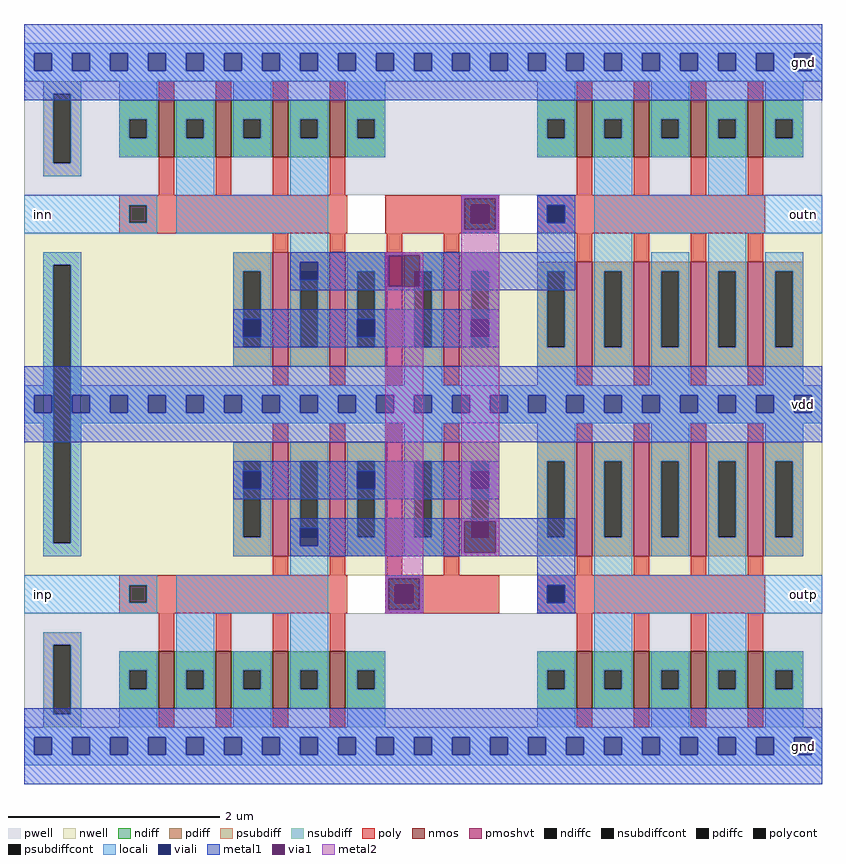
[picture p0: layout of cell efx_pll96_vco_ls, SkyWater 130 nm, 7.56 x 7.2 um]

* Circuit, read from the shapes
.subckt efx_pll96_vco_ls vdd inp outp outn inn gnd
XM1 n1 inp gnd gnd sky130_fd_pr__nfet_01v8 w=0.54 l=0.15 m=4
XM2 n2 inn gnd gnd sky130_fd_pr__nfet_01v8 w=0.54 l=0.15 m=4
XM3 outp n1 gnd gnd sky130_fd_pr__nfet_01v8 w=0.54 l=0.15 m=4
XM4 outn n2 gnd gnd sky130_fd_pr__nfet_01v8 w=0.54 l=0.15 m=4
XM5 n1 inp n3 vdd sky130_fd_pr__pfet_01v8_hvt w=1.08 l=0.15 m=2
XM6 n2 inn n4 vdd sky130_fd_pr__pfet_01v8_hvt w=1.08 l=0.15 m=2
XM7 vdd n2 n3 vdd sky130_fd_pr__pfet_01v8_hvt w=1.08 l=0.15 m=2
XM8 vdd n1 n4 vdd sky130_fd_pr__pfet_01v8_hvt w=1.08 l=0.15 m=2
XM9 outp n1 vdd vdd sky130_fd_pr__pfet_01v8_hvt w=1.08 l=0.15 m=4
XM10 outn n2 vdd vdd sky130_fd_pr__pfet_01v8_hvt w=0.99 l=0.15 m=4
.ends

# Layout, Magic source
magic
tech sky130A
magscale 1 2
<< nwell >>
rect 0 288 1512 936
<< pwell >>
rect 0 1008 1512 1224
rect 0 0 1512 216
<< nmos >>
rect 255 1080 285 1188
rect 363 1080 393 1188
rect 471 1080 501 1188
rect 579 1080 609 1188
rect 1047 1080 1077 1188
rect 1155 1080 1185 1188
rect 1263 1080 1293 1188
rect 1371 1080 1401 1188
rect 255 36 285 144
rect 363 36 393 144
rect 471 36 501 144
rect 579 36 609 144
rect 1047 36 1077 144
rect 1155 36 1185 144
rect 1263 36 1293 144
rect 1371 36 1401 144
<< pmoshvt >>
rect 471 684 501 900
rect 579 684 609 900
rect 687 684 717 900
rect 795 684 825 900
rect 1047 684 1077 882
rect 1155 684 1185 882
rect 1263 684 1293 882
rect 1371 684 1401 882
rect 471 324 501 540
rect 579 324 609 540
rect 687 324 717 540
rect 795 324 825 540
rect 1047 324 1077 540
rect 1155 324 1185 540
rect 1263 324 1293 540
rect 1371 324 1401 540
<< ndiff >>
rect 180 1152 255 1188
rect 180 1116 199 1152
rect 233 1116 255 1152
rect 180 1080 255 1116
rect 285 1152 363 1188
rect 285 1116 307 1152
rect 341 1116 363 1152
rect 285 1080 363 1116
rect 393 1152 471 1188
rect 393 1116 415 1152
rect 449 1116 471 1152
rect 393 1080 471 1116
rect 501 1152 579 1188
rect 501 1116 523 1152
rect 557 1116 579 1152
rect 501 1080 579 1116
rect 609 1152 684 1188
rect 609 1116 631 1152
rect 665 1116 684 1152
rect 609 1080 684 1116
rect 972 1152 1047 1188
rect 972 1116 991 1152
rect 1025 1116 1047 1152
rect 972 1080 1047 1116
rect 1077 1152 1155 1188
rect 1077 1116 1099 1152
rect 1133 1116 1155 1152
rect 1077 1080 1155 1116
rect 1185 1152 1263 1188
rect 1185 1116 1207 1152
rect 1241 1116 1263 1152
rect 1185 1080 1263 1116
rect 1293 1152 1371 1188
rect 1293 1116 1315 1152
rect 1349 1116 1371 1152
rect 1293 1080 1371 1116
rect 1401 1152 1476 1188
rect 1401 1116 1423 1152
rect 1457 1116 1476 1152
rect 1401 1080 1476 1116
rect 180 108 255 144
rect 180 72 199 108
rect 233 72 255 108
rect 180 36 255 72
rect 285 108 363 144
rect 285 72 307 108
rect 341 72 363 108
rect 285 36 363 72
rect 393 108 471 144
rect 393 72 415 108
rect 449 72 471 108
rect 393 36 471 72
rect 501 108 579 144
rect 501 72 523 108
rect 557 72 579 108
rect 501 36 579 72
rect 609 108 684 144
rect 609 72 631 108
rect 665 72 684 108
rect 609 36 684 72
rect 972 108 1047 144
rect 972 72 991 108
rect 1025 72 1047 108
rect 972 36 1047 72
rect 1077 108 1155 144
rect 1077 72 1099 108
rect 1133 72 1155 108
rect 1077 36 1155 72
rect 1185 108 1263 144
rect 1185 72 1207 108
rect 1241 72 1263 108
rect 1185 36 1263 72
rect 1293 108 1371 144
rect 1293 72 1315 108
rect 1349 72 1371 108
rect 1293 36 1371 72
rect 1401 108 1476 144
rect 1401 72 1423 108
rect 1457 72 1476 108
rect 1401 36 1476 72
<< pdiff >>
rect 396 864 471 900
rect 396 720 415 864
rect 449 720 471 864
rect 396 684 471 720
rect 501 864 579 900
rect 501 720 523 864
rect 557 720 579 864
rect 501 684 579 720
rect 609 864 687 900
rect 609 720 631 864
rect 665 720 687 864
rect 609 684 687 720
rect 717 864 795 900
rect 717 720 739 864
rect 773 720 795 864
rect 717 684 795 720
rect 825 864 900 900
rect 825 720 847 864
rect 881 720 900 864
rect 825 684 900 720
rect 972 864 1047 882
rect 972 720 991 864
rect 1025 720 1047 864
rect 972 684 1047 720
rect 1077 864 1155 882
rect 1077 720 1099 864
rect 1133 720 1155 864
rect 1077 684 1155 720
rect 1185 864 1263 882
rect 1185 720 1207 864
rect 1241 720 1263 864
rect 1185 684 1263 720
rect 1293 864 1371 882
rect 1293 720 1315 864
rect 1349 720 1371 864
rect 1293 684 1371 720
rect 1401 864 1476 882
rect 1401 720 1423 864
rect 1457 720 1476 864
rect 1401 684 1476 720
rect 396 504 471 540
rect 396 360 415 504
rect 449 360 471 504
rect 396 324 471 360
rect 501 504 579 540
rect 501 360 523 504
rect 557 360 579 504
rect 501 324 579 360
rect 609 504 687 540
rect 609 360 631 504
rect 665 360 687 504
rect 609 324 687 360
rect 717 504 795 540
rect 717 360 739 504
rect 773 360 795 504
rect 717 324 795 360
rect 825 504 900 540
rect 825 360 847 504
rect 881 360 900 504
rect 825 324 900 360
rect 972 504 1047 540
rect 972 360 991 504
rect 1025 360 1047 504
rect 972 324 1047 360
rect 1077 504 1155 540
rect 1077 360 1099 504
rect 1133 360 1155 504
rect 1077 324 1155 360
rect 1185 504 1263 540
rect 1185 360 1207 504
rect 1241 360 1263 504
rect 1185 324 1263 360
rect 1293 504 1371 540
rect 1293 360 1315 504
rect 1349 360 1371 504
rect 1293 324 1371 360
rect 1401 504 1476 540
rect 1401 360 1423 504
rect 1457 360 1476 504
rect 1401 324 1476 360
<< ndiffc >>
rect 199 1116 233 1152
rect 307 1116 341 1152
rect 415 1116 449 1152
rect 523 1116 557 1152
rect 631 1116 665 1152
rect 991 1116 1025 1152
rect 1099 1116 1133 1152
rect 1207 1116 1241 1152
rect 1315 1116 1349 1152
rect 1423 1116 1457 1152
rect 199 72 233 108
rect 307 72 341 108
rect 415 72 449 108
rect 523 72 557 108
rect 631 72 665 108
rect 991 72 1025 108
rect 1099 72 1133 108
rect 1207 72 1241 108
rect 1315 72 1349 108
rect 1423 72 1457 108
<< pdiffc >>
rect 415 720 449 864
rect 523 720 557 864
rect 631 720 665 864
rect 739 720 773 864
rect 847 720 881 864
rect 991 720 1025 864
rect 1099 720 1133 864
rect 1207 720 1241 864
rect 1315 720 1349 864
rect 1423 720 1457 864
rect 415 360 449 504
rect 523 360 557 504
rect 631 360 665 504
rect 739 360 773 504
rect 847 360 881 504
rect 991 360 1025 504
rect 1099 360 1133 504
rect 1207 360 1241 504
rect 1315 360 1349 504
rect 1423 360 1457 504
<< psubdiff >>
rect 36 1200 108 1224
rect 36 1068 55 1200
rect 89 1068 108 1200
rect 36 1044 108 1068
rect 36 156 108 180
rect 36 24 55 156
rect 89 24 108 156
rect 36 0 108 24
<< nsubdiff >>
rect 36 876 108 900
rect 36 348 55 876
rect 89 348 108 876
rect 36 324 108 348
<< psubdiffcont >>
rect 55 1068 89 1200
rect 55 24 89 156
<< nsubdiffcont >>
rect 55 348 89 876
<< poly >>
rect 255 1188 285 1224
rect 363 1188 393 1224
rect 471 1188 501 1224
rect 579 1188 609 1224
rect 1047 1188 1077 1224
rect 1155 1188 1185 1224
rect 1263 1188 1293 1224
rect 1371 1188 1401 1224
rect 255 1008 285 1080
rect 363 1008 393 1080
rect 471 1008 501 1080
rect 579 1008 609 1080
rect 1047 1008 1077 1080
rect 1155 1008 1185 1080
rect 1263 1008 1293 1080
rect 1371 1008 1401 1080
rect 180 989 612 1008
rect 180 955 199 989
rect 233 955 612 989
rect 180 936 612 955
rect 684 989 900 1008
rect 684 955 847 989
rect 881 955 900 989
rect 684 936 900 955
rect 972 989 1404 1008
rect 972 955 991 989
rect 1025 955 1404 989
rect 972 936 1404 955
rect 471 900 501 936
rect 579 900 609 936
rect 687 900 717 936
rect 795 900 825 936
rect 1047 882 1077 936
rect 1155 882 1185 936
rect 1263 882 1293 936
rect 1371 882 1401 936
rect 471 648 501 684
rect 579 648 609 684
rect 687 648 717 684
rect 795 648 825 684
rect 1047 648 1077 684
rect 1155 648 1185 684
rect 1263 648 1293 684
rect 1371 648 1401 684
rect 471 540 501 576
rect 579 540 609 576
rect 687 540 717 576
rect 795 540 825 576
rect 1047 540 1077 576
rect 1155 540 1185 576
rect 1263 540 1293 576
rect 1371 540 1401 576
rect 471 288 501 324
rect 579 288 609 324
rect 687 288 717 324
rect 795 288 825 324
rect 1047 288 1077 324
rect 1155 288 1185 324
rect 1263 288 1293 324
rect 1371 288 1401 324
rect 180 269 612 288
rect 180 235 199 269
rect 233 235 612 269
rect 180 216 612 235
rect 684 269 900 288
rect 684 235 703 269
rect 737 235 900 269
rect 684 216 900 235
rect 972 269 1404 288
rect 972 235 991 269
rect 1025 235 1404 269
rect 972 216 1404 235
rect 255 144 285 216
rect 363 144 393 216
rect 471 144 501 216
rect 579 144 609 216
rect 1047 144 1077 216
rect 1155 144 1185 216
rect 1263 144 1293 216
rect 1371 144 1401 216
rect 255 0 285 36
rect 363 0 393 36
rect 471 0 501 36
rect 579 0 609 36
rect 1047 0 1077 36
rect 1155 0 1185 36
rect 1263 0 1293 36
rect 1371 0 1401 36
<< polycont >>
rect 199 955 233 989
rect 847 955 881 989
rect 991 955 1025 989
rect 199 235 233 269
rect 703 235 737 269
rect 991 235 1025 269
<< locali >>
rect 0 1277 1512 1296
rect 0 1243 19 1277
rect 53 1243 91 1277
rect 125 1243 163 1277
rect 197 1243 235 1277
rect 269 1243 307 1277
rect 341 1243 379 1277
rect 413 1243 451 1277
rect 485 1243 523 1277
rect 557 1243 595 1277
rect 629 1243 667 1277
rect 701 1243 739 1277
rect 773 1243 811 1277
rect 845 1243 883 1277
rect 917 1243 955 1277
rect 989 1243 1027 1277
rect 1061 1243 1099 1277
rect 1133 1243 1171 1277
rect 1205 1243 1243 1277
rect 1277 1243 1315 1277
rect 1349 1243 1387 1277
rect 1421 1243 1459 1277
rect 1493 1243 1512 1277
rect 0 1224 1512 1243
rect 36 1200 108 1224
rect 36 1068 55 1200
rect 89 1068 108 1200
rect 180 1152 252 1224
rect 180 1116 199 1152
rect 233 1116 252 1152
rect 180 1080 252 1116
rect 288 1152 360 1188
rect 288 1116 307 1152
rect 341 1116 360 1152
rect 36 1044 108 1068
rect 288 1008 360 1116
rect 396 1152 468 1224
rect 396 1116 415 1152
rect 449 1116 468 1152
rect 396 1080 468 1116
rect 504 1152 576 1188
rect 504 1116 523 1152
rect 557 1116 576 1152
rect 504 1008 576 1116
rect 612 1152 684 1224
rect 612 1116 631 1152
rect 665 1116 684 1152
rect 612 1080 684 1116
rect 972 1152 1044 1224
rect 972 1116 991 1152
rect 1025 1116 1044 1152
rect 972 1080 1044 1116
rect 1080 1152 1152 1188
rect 1080 1116 1099 1152
rect 1133 1116 1152 1152
rect 1080 1008 1152 1116
rect 1188 1152 1260 1224
rect 1188 1116 1207 1152
rect 1241 1116 1260 1152
rect 1188 1080 1260 1116
rect 1296 1152 1368 1188
rect 1296 1116 1315 1152
rect 1349 1116 1368 1152
rect 1296 1008 1368 1116
rect 1404 1152 1476 1224
rect 1404 1116 1423 1152
rect 1457 1116 1476 1152
rect 1404 1080 1476 1116
rect 0 989 252 1008
rect 0 955 199 989
rect 233 955 252 989
rect 0 936 252 955
rect 288 936 576 1008
rect 828 989 900 1008
rect 828 955 847 989
rect 881 955 900 989
rect 828 936 900 955
rect 972 989 1044 1008
rect 972 955 991 989
rect 1025 955 1044 989
rect 972 936 1044 955
rect 1080 936 1512 1008
rect 36 876 108 900
rect 36 648 55 876
rect 0 629 55 648
rect 0 595 19 629
rect 53 595 55 629
rect 0 576 55 595
rect 36 348 55 576
rect 89 648 108 876
rect 396 864 468 900
rect 396 720 415 864
rect 449 720 468 864
rect 396 684 468 720
rect 504 881 576 936
rect 504 720 523 881
rect 557 720 576 881
rect 504 684 576 720
rect 612 864 684 900
rect 612 720 631 864
rect 665 720 684 864
rect 612 684 684 720
rect 720 864 792 900
rect 720 720 739 864
rect 773 720 792 864
rect 720 648 792 720
rect 828 864 900 900
rect 828 720 847 864
rect 881 720 900 864
rect 828 684 900 720
rect 972 864 1044 900
rect 972 720 991 864
rect 1025 720 1044 864
rect 972 648 1044 720
rect 1080 864 1152 936
rect 1080 720 1099 864
rect 1133 720 1152 864
rect 1080 684 1152 720
rect 1188 864 1260 900
rect 1188 720 1207 864
rect 1241 720 1260 864
rect 1188 648 1260 720
rect 1296 864 1368 936
rect 1296 720 1315 864
rect 1349 720 1368 864
rect 1296 684 1368 720
rect 1404 864 1476 900
rect 1404 720 1423 864
rect 1457 720 1476 864
rect 1404 648 1476 720
rect 89 629 1512 648
rect 89 595 91 629
rect 125 595 163 629
rect 197 595 235 629
rect 269 595 307 629
rect 341 595 379 629
rect 413 595 451 629
rect 485 595 523 629
rect 557 595 595 629
rect 629 595 667 629
rect 701 595 739 629
rect 773 595 811 629
rect 845 595 883 629
rect 917 595 955 629
rect 989 595 1027 629
rect 1061 595 1099 629
rect 1133 595 1171 629
rect 1205 595 1243 629
rect 1277 595 1315 629
rect 1349 595 1387 629
rect 1421 595 1459 629
rect 1493 595 1512 629
rect 89 576 1512 595
rect 89 348 108 576
rect 36 324 108 348
rect 396 504 468 540
rect 396 360 415 504
rect 449 360 468 504
rect 396 324 468 360
rect 504 504 576 540
rect 504 343 523 504
rect 557 343 576 504
rect 504 288 576 343
rect 612 504 684 540
rect 612 360 631 504
rect 665 360 684 504
rect 612 324 684 360
rect 720 504 792 576
rect 720 360 739 504
rect 773 360 792 504
rect 720 324 792 360
rect 828 504 900 540
rect 828 360 847 504
rect 881 360 900 504
rect 828 324 900 360
rect 972 504 1044 576
rect 972 360 991 504
rect 1025 360 1044 504
rect 972 324 1044 360
rect 1080 504 1152 540
rect 1080 360 1099 504
rect 1133 360 1152 504
rect 1080 288 1152 360
rect 1188 504 1260 576
rect 1188 360 1207 504
rect 1241 360 1260 504
rect 1188 324 1260 360
rect 1296 504 1368 540
rect 1296 360 1315 504
rect 1349 360 1368 504
rect 1296 288 1368 360
rect 1404 504 1476 576
rect 1404 360 1423 504
rect 1457 360 1476 504
rect 1404 324 1476 360
rect 0 269 252 288
rect 0 235 199 269
rect 233 235 252 269
rect 0 216 252 235
rect 288 216 576 288
rect 684 269 756 288
rect 684 235 703 269
rect 737 235 756 269
rect 684 216 756 235
rect 972 269 1044 288
rect 972 235 991 269
rect 1025 235 1044 269
rect 972 216 1044 235
rect 1080 216 1512 288
rect 36 156 108 180
rect 36 24 55 156
rect 89 24 108 156
rect 36 0 108 24
rect 180 108 252 144
rect 180 72 199 108
rect 233 72 252 108
rect 180 0 252 72
rect 288 108 360 216
rect 288 72 307 108
rect 341 72 360 108
rect 288 36 360 72
rect 396 108 468 144
rect 396 72 415 108
rect 449 72 468 108
rect 396 0 468 72
rect 504 108 576 216
rect 504 72 523 108
rect 557 72 576 108
rect 504 36 576 72
rect 612 108 684 144
rect 612 72 631 108
rect 665 72 684 108
rect 612 0 684 72
rect 972 108 1044 144
rect 972 72 991 108
rect 1025 72 1044 108
rect 972 0 1044 72
rect 1080 108 1152 216
rect 1080 72 1099 108
rect 1133 72 1152 108
rect 1080 36 1152 72
rect 1188 108 1260 144
rect 1188 72 1207 108
rect 1241 72 1260 108
rect 1188 0 1260 72
rect 1296 108 1368 216
rect 1296 72 1315 108
rect 1349 72 1368 108
rect 1296 36 1368 72
rect 1404 108 1476 144
rect 1404 72 1423 108
rect 1457 72 1476 108
rect 1404 0 1476 72
rect 0 -19 1512 0
rect 0 -53 19 -19
rect 53 -53 91 -19
rect 125 -53 163 -19
rect 197 -53 235 -19
rect 269 -53 307 -19
rect 341 -53 379 -19
rect 413 -53 451 -19
rect 485 -53 523 -19
rect 557 -53 595 -19
rect 629 -53 667 -19
rect 701 -53 739 -19
rect 773 -53 811 -19
rect 845 -53 883 -19
rect 917 -53 955 -19
rect 989 -53 1027 -19
rect 1061 -53 1099 -19
rect 1133 -53 1171 -19
rect 1205 -53 1243 -19
rect 1277 -53 1315 -19
rect 1349 -53 1387 -19
rect 1421 -53 1459 -19
rect 1493 -53 1512 -19
rect 0 -72 1512 -53
<< viali >>
rect 19 1243 53 1277
rect 91 1243 125 1277
rect 163 1243 197 1277
rect 235 1243 269 1277
rect 307 1243 341 1277
rect 379 1243 413 1277
rect 451 1243 485 1277
rect 523 1243 557 1277
rect 595 1243 629 1277
rect 667 1243 701 1277
rect 739 1243 773 1277
rect 811 1243 845 1277
rect 883 1243 917 1277
rect 955 1243 989 1277
rect 1027 1243 1061 1277
rect 1099 1243 1133 1277
rect 1171 1243 1205 1277
rect 1243 1243 1277 1277
rect 1315 1243 1349 1277
rect 1387 1243 1421 1277
rect 1459 1243 1493 1277
rect 847 955 881 989
rect 991 955 1025 989
rect 19 595 53 629
rect 415 739 449 773
rect 523 864 557 881
rect 523 847 557 864
rect 631 739 665 773
rect 847 739 881 773
rect 91 595 125 629
rect 163 595 197 629
rect 235 595 269 629
rect 307 595 341 629
rect 379 595 413 629
rect 451 595 485 629
rect 523 595 557 629
rect 595 595 629 629
rect 667 595 701 629
rect 739 595 773 629
rect 811 595 845 629
rect 883 595 917 629
rect 955 595 989 629
rect 1027 595 1061 629
rect 1099 595 1133 629
rect 1171 595 1205 629
rect 1243 595 1277 629
rect 1315 595 1349 629
rect 1387 595 1421 629
rect 1459 595 1493 629
rect 415 451 449 485
rect 523 360 557 377
rect 523 343 557 360
rect 631 451 665 485
rect 847 451 881 485
rect 703 235 737 269
rect 991 235 1025 269
rect 19 -53 53 -19
rect 91 -53 125 -19
rect 163 -53 197 -19
rect 235 -53 269 -19
rect 307 -53 341 -19
rect 379 -53 413 -19
rect 451 -53 485 -19
rect 523 -53 557 -19
rect 595 -53 629 -19
rect 667 -53 701 -19
rect 739 -53 773 -19
rect 811 -53 845 -19
rect 883 -53 917 -19
rect 955 -53 989 -19
rect 1027 -53 1061 -19
rect 1099 -53 1133 -19
rect 1171 -53 1205 -19
rect 1243 -53 1277 -19
rect 1315 -53 1349 -19
rect 1387 -53 1421 -19
rect 1459 -53 1493 -19
<< metal1 >>
rect 0 1277 1512 1332
rect 0 1243 19 1277
rect 53 1243 91 1277
rect 125 1243 163 1277
rect 197 1243 235 1277
rect 269 1243 307 1277
rect 341 1243 379 1277
rect 413 1243 451 1277
rect 485 1243 523 1277
rect 557 1243 595 1277
rect 629 1243 667 1277
rect 701 1243 739 1277
rect 773 1243 811 1277
rect 845 1243 883 1277
rect 917 1243 955 1277
rect 989 1243 1027 1277
rect 1061 1243 1099 1277
rect 1133 1243 1171 1277
rect 1205 1243 1243 1277
rect 1277 1243 1315 1277
rect 1349 1243 1387 1277
rect 1421 1243 1459 1277
rect 1493 1243 1512 1277
rect 0 1188 1512 1243
rect 828 1002 900 1008
rect 828 942 834 1002
rect 894 942 900 1002
rect 828 936 900 942
rect 972 989 1044 1008
rect 972 955 991 989
rect 1025 955 1044 989
rect 972 900 1044 955
rect 504 894 1044 900
rect 504 881 690 894
rect 504 847 523 881
rect 557 847 690 881
rect 504 834 690 847
rect 750 834 1044 894
rect 504 828 1044 834
rect 396 773 900 792
rect 396 739 415 773
rect 449 739 631 773
rect 665 739 847 773
rect 881 739 900 773
rect 396 720 900 739
rect 0 629 1512 684
rect 0 595 19 629
rect 53 595 91 629
rect 125 595 163 629
rect 197 595 235 629
rect 269 595 307 629
rect 341 595 379 629
rect 413 595 451 629
rect 485 595 523 629
rect 557 595 595 629
rect 629 595 667 629
rect 701 595 739 629
rect 773 595 811 629
rect 845 595 883 629
rect 917 595 955 629
rect 989 595 1027 629
rect 1061 595 1099 629
rect 1133 595 1171 629
rect 1205 595 1243 629
rect 1277 595 1315 629
rect 1349 595 1387 629
rect 1421 595 1459 629
rect 1493 595 1512 629
rect 0 540 1512 595
rect 396 485 900 504
rect 396 451 415 485
rect 449 451 631 485
rect 665 451 847 485
rect 881 451 900 485
rect 396 432 900 451
rect 504 390 1044 396
rect 504 377 834 390
rect 504 343 523 377
rect 557 343 834 377
rect 504 330 834 343
rect 894 330 1044 390
rect 504 324 1044 330
rect 684 282 756 288
rect 684 222 690 282
rect 750 222 756 282
rect 684 216 756 222
rect 972 269 1044 324
rect 972 235 991 269
rect 1025 235 1044 269
rect 972 216 1044 235
rect 0 -19 1512 36
rect 0 -53 19 -19
rect 53 -53 91 -19
rect 125 -53 163 -19
rect 197 -53 235 -19
rect 269 -53 307 -19
rect 341 -53 379 -19
rect 413 -53 451 -19
rect 485 -53 523 -19
rect 557 -53 595 -19
rect 629 -53 667 -19
rect 701 -53 739 -19
rect 773 -53 811 -19
rect 845 -53 883 -19
rect 917 -53 955 -19
rect 989 -53 1027 -19
rect 1061 -53 1099 -19
rect 1133 -53 1171 -19
rect 1205 -53 1243 -19
rect 1277 -53 1315 -19
rect 1349 -53 1387 -19
rect 1421 -53 1459 -19
rect 1493 -53 1512 -19
rect 0 -108 1512 -53
<< via1 >>
rect 834 989 894 1002
rect 834 955 847 989
rect 847 955 881 989
rect 881 955 894 989
rect 834 942 894 955
rect 690 834 750 894
rect 834 330 894 390
rect 690 269 750 282
rect 690 235 703 269
rect 703 235 737 269
rect 737 235 750 269
rect 690 222 750 235
<< metal2 >>
rect 828 1002 900 1008
rect 828 942 834 1002
rect 894 942 900 1002
rect 684 894 756 900
rect 684 834 690 894
rect 750 834 756 894
rect 684 282 756 834
rect 828 390 900 942
rect 828 330 834 390
rect 894 330 900 390
rect 828 324 900 330
rect 684 222 690 282
rect 750 222 756 282
rect 684 216 756 222
<< labels >>
flabel metal1 1440 576 1512 648 0 FreeSans 288 0 0 0 vdd
port 1 nsew power bidirectional
flabel locali 0 216 72 288 0 FreeSans 288 0 0 0 inp
port 2 nsew signal input
flabel locali 1440 216 1512 288 0 FreeSans 288 0 0 0 outp
port 3 nsew signal output
flabel locali 1440 936 1512 1008 0 FreeSans 288 0 0 0 outn
port 4 nsew signal output
flabel locali 0 936 72 1008 0 FreeSans 288 0 0 0 inn
port 5 nsew signal input
flabel metal1 1440 -72 1512 0 0 FreeSans 288 0 0 0 gnd
port 6 nsew ground bidirectional
flabel metal1 1440 1224 1512 1296 0 FreeSans 288 0 0 0 gnd
port 6 nsew ground bidirectional
<< properties >>
string FIXED_BBOX 0 -36 1512 1260
<< end >>
